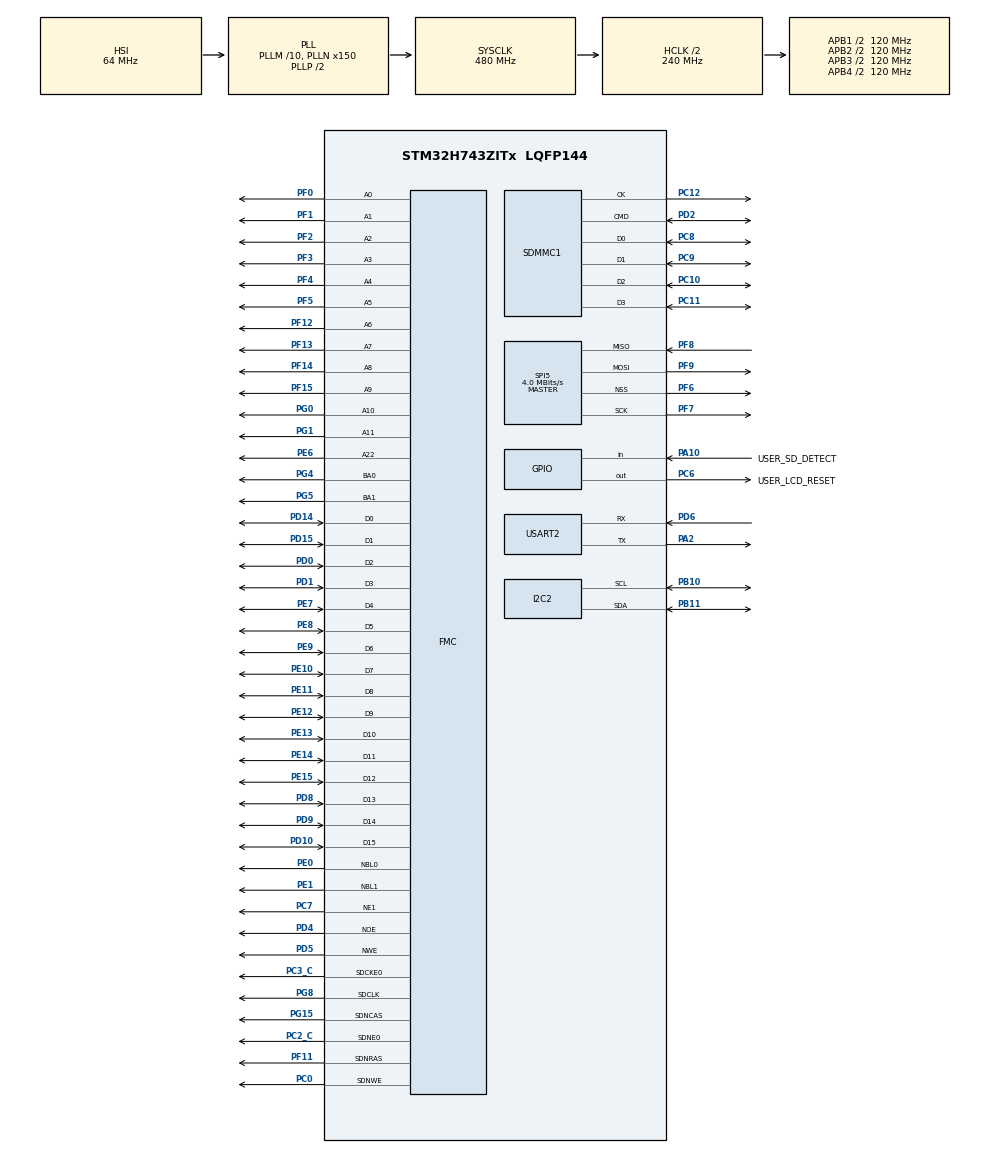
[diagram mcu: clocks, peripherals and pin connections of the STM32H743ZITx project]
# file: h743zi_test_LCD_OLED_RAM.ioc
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CORTEX_M7.AccessPermission-Cortex_Memory_Protection_Unit_Region2_Settings=MPU_REGION_FULL_ACCESS
CORTEX_M7.AccessPermission-Cortex_Memory_Protection_Unit_Region4_Settings=MPU_REGION_FULL_ACCESS
CORTEX_M7.BaseAddress-Cortex_Memory_Protection_Unit_Region2_Settings=0x60000000
CORTEX_M7.BaseAddress-Cortex_Memory_Protection_Unit_Region4_Settings=0xC0000000
CORTEX_M7.CPU_DCache=Enabled
CORTEX_M7.CPU_ICache=Enabled
CORTEX_M7.Enable-Cortex_Memory_Protection_Unit_Region2_Settings=MPU_REGION_ENABLE
CORTEX_M7.Enable-Cortex_Memory_Protection_Unit_Region4_Settings=MPU_REGION_ENABLE
CORTEX_M7.IsBufferable-Cortex_Memory_Protection_Unit_Region2_Settings=MPU_ACCESS_BUFFERABLE
CORTEX_M7.IsCacheable-Cortex_Memory_Protection_Unit_Region4_Settings=MPU_ACCESS_CACHEABLE
CORTEX_M7.IsShareable-Cortex_Memory_Protection_Unit_Region2_Settings=MPU_ACCESS_SHAREABLE
CORTEX_M7.MPU_Control=MPU_PRIVILEGED_DEFAULT
CORTEX_M7.Size-Cortex_Memory_Protection_Unit_Region2_Settings=MPU_REGION_SIZE_64MB
CORTEX_M7.Size-Cortex_Memory_Protection_Unit_Region4_Settings=MPU_REGION_SIZE_256MB
Dma.Request0=USART2_RX
Dma.Request1=SPI5_RX
Dma.Request2=SPI5_TX
Dma.Request3=USART2_TX
Dma.SPI5_RX.1.Direction=DMA_PERIPH_TO_MEMORY
Dma.SPI5_RX.1.EventEnable=DISABLE
Dma.SPI5_RX.1.FIFOMode=DMA_FIFOMODE_DISABLE
Dma.SPI5_RX.1.Instance=DMA1_Stream1
Dma.SPI5_RX.1.MemDataAlignment=DMA_MDATAALIGN_BYTE
Dma.SPI5_RX.1.MemInc=DMA_MINC_ENABLE
Dma.SPI5_RX.1.Mode=DMA_NORMAL
Dma.SPI5_RX.1.PeriphDataAlignment=DMA_PDATAALIGN_BYTE
Dma.SPI5_RX.1.PeriphInc=DMA_PINC_DISABLE
Dma.SPI5_RX.1.Polarity=HAL_DMAMUX_REQ_GEN_RISING
Dma.SPI5_RX.1.Priority=DMA_PRIORITY_LOW
Dma.SPI5_RX.1.RequestNumber=1
Dma.SPI5_RX.1.SignalID=NONE
Dma.SPI5_RX.1.SyncEnable=DISABLE
Dma.SPI5_RX.1.SyncPolarity=HAL_DMAMUX_SYNC_NO_EVENT
Dma.SPI5_RX.1.SyncRequestNumber=1
Dma.SPI5_RX.1.SyncSignalID=NONE
Dma.SPI5_TX.2.Direction=DMA_MEMORY_TO_PERIPH
Dma.SPI5_TX.2.EventEnable=DISABLE
Dma.SPI5_TX.2.FIFOMode=DMA_FIFOMODE_DISABLE
Dma.SPI5_TX.2.Instance=DMA1_Stream2
Dma.SPI5_TX.2.MemDataAlignment=DMA_MDATAALIGN_BYTE
Dma.SPI5_TX.2.MemInc=DMA_MINC_ENABLE
Dma.SPI5_TX.2.Mode=DMA_NORMAL
Dma.SPI5_TX.2.PeriphDataAlignment=DMA_PDATAALIGN_BYTE
Dma.SPI5_TX.2.PeriphInc=DMA_PINC_DISABLE
Dma.SPI5_TX.2.Polarity=HAL_DMAMUX_REQ_GEN_RISING
Dma.SPI5_TX.2.Priority=DMA_PRIORITY_LOW
Dma.SPI5_TX.2.RequestNumber=1
Dma.SPI5_TX.2.SignalID=NONE
Dma.SPI5_TX.2.SyncEnable=DISABLE
Dma.SPI5_TX.2.SyncPolarity=HAL_DMAMUX_SYNC_NO_EVENT
Dma.SPI5_TX.2.SyncRequestNumber=1
Dma.SPI5_TX.2.SyncSignalID=NONE
Dma.USART2_RX.0.Direction=DMA_PERIPH_TO_MEMORY
Dma.USART2_RX.0.EventEnable=DISABLE
Dma.USART2_RX.0.FIFOMode=DMA_FIFOMODE_DISABLE
Dma.USART2_RX.0.Instance=DMA1_Stream0
Dma.USART2_RX.0.MemDataAlignment=DMA_MDATAALIGN_BYTE
Dma.USART2_RX.0.MemInc=DMA_MINC_ENABLE
Dma.USART2_RX.0.Mode=DMA_CIRCULAR
Dma.USART2_RX.0.PeriphDataAlignment=DMA_PDATAALIGN_BYTE
Dma.USART2_RX.0.PeriphInc=DMA_PINC_DISABLE
Dma.USART2_RX.0.Polarity=HAL_DMAMUX_REQ_GEN_RISING
Dma.USART2_RX.0.Priority=DMA_PRIORITY_LOW
Dma.USART2_RX.0.RequestNumber=1
Dma.USART2_RX.0.SignalID=NONE
Dma.USART2_RX.0.SyncEnable=DISABLE
Dma.USART2_RX.0.SyncPolarity=HAL_DMAMUX_SYNC_NO_EVENT
Dma.USART2_RX.0.SyncRequestNumber=1
Dma.USART2_RX.0.SyncSignalID=NONE
Dma.USART2_TX.3.Direction=DMA_MEMORY_TO_PERIPH
Dma.USART2_TX.3.EventEnable=DISABLE
Dma.USART2_TX.3.FIFOMode=DMA_FIFOMODE_DISABLE
Dma.USART2_TX.3.Instance=DMA1_Stream3
Dma.USART2_TX.3.MemDataAlignment=DMA_MDATAALIGN_BYTE
Dma.USART2_TX.3.MemInc=DMA_MINC_ENABLE
Dma.USART2_TX.3.Mode=DMA_NORMAL
Dma.USART2_TX.3.PeriphDataAlignment=DMA_PDATAALIGN_BYTE
Dma.USART2_TX.3.PeriphInc=DMA_PINC_DISABLE
Dma.USART2_TX.3.Polarity=HAL_DMAMUX_REQ_GEN_RISING
Dma.USART2_TX.3.Priority=DMA_PRIORITY_LOW
Dma.USART2_TX.3.RequestNumber=1
Dma.USART2_TX.3.SignalID=NONE
Dma.USART2_TX.3.SyncEnable=DISABLE
Dma.USART2_TX.3.SyncPolarity=HAL_DMAMUX_SYNC_NO_EVENT
Dma.USART2_TX.3.SyncRequestNumber=1
Dma.USART2_TX.3.SyncSignalID=NONE
FMC.AddressSetupTime1=1
FMC.BusTurnAroundDuration1=1
FMC.CASLatency1=FMC_SDRAM_CAS_LATENCY_2
FMC.DataSetupTime1=1
FMC.LoadToActiveDelay1=6
FMC.RCDDelay1=6
FMC.RPDelay1=6
FMC.RPDelay2=6
FMC.ReadBurst1=FMC_SDRAM_RBURST_ENABLE
FMC.ReadBurst2=FMC_SDRAM_RBURST_ENABLE
FMC.SDClockPeriod1=FMC_SDRAM_CLOCK_PERIOD_2
FMC.SDClockPeriod2=FMC_SDRAM_CLOCK_PERIOD_2
FMC.SelfRefreshTime1=11
FMC.WriteRecoveryTime1=6
I2C2.Timing=0x307075B1
Mcu.Family=STM32H7
Mcu.Name=STM32H743ZITx
Mcu.Package=LQFP144
NVIC.DMA1_Stream0_IRQn=true\:0\:0\:false\:false\:true\:false\:true\:true
NVIC.DMA1_Stream1_IRQn=true\:0\:0\:false\:false\:true\:false\:true\:true
NVIC.DMA1_Stream2_IRQn=true\:0\:0\:false\:false\:true\:false\:true\:true
NVIC.DMA1_Stream3_IRQn=true\:0\:0\:false\:false\:true\:false\:true\:true
NVIC.PriorityGroup=NVIC_PRIORITYGROUP_4
NVIC.SDMMC1_IRQn=true\:0\:0\:false\:false\:true\:true\:true\:true
NVIC.SPI5_IRQn=true\:0\:0\:false\:false\:true\:false\:true\:true
NVIC.USART2_IRQn=true\:0\:0\:false\:false\:true\:true\:true\:true
PA10.GPIO_Label=USER_SD_DETECT
PA10.GPIO_PuPd=GPIO_PULLUP
PA10.Signal=GPIO_Input
PA13\ (JTMS/SWDIO).Mode=Serial_Wire
PA13\ (JTMS/SWDIO).Signal=DEBUG_JTMS-SWDIO
PA14\ (JTCK/SWCLK).Mode=Serial_Wire
PA14\ (JTCK/SWCLK).Signal=DEBUG_JTCK-SWCLK
PA2.Mode=Asynchronous
PA2.Signal=USART2_TX
PB10.Mode=I2C
PB10.Signal=I2C2_SCL
PB11.Mode=I2C
PB11.Signal=I2C2_SDA
PC0.Signal=FMC_SDNWE
PC10.Mode=SD_4_bits_Wide_bus
PC10.Signal=SDMMC1_D2
PC11.Mode=SD_4_bits_Wide_bus
PC11.Signal=SDMMC1_D3
PC12.Mode=SD_4_bits_Wide_bus
PC12.Signal=SDMMC1_CK
PC2_C.Mode=SdramChipSelect1_1
PC2_C.Signal=FMC_SDNE0
PC3_C.Mode=SdramChipSelect1_1
PC3_C.Signal=FMC_SDCKE0
PC6.GPIO_Label=USER_LCD_RESET
PC6.PinState=GPIO_PIN_SET
PC6.Signal=GPIO_Output
PC7.Mode=NorPsramChipSelect1_1
PC7.Signal=FMC_NE1
PC8.Mode=SD_4_bits_Wide_bus
PC8.Signal=SDMMC1_D0
PC9.Mode=SD_4_bits_Wide_bus
PC9.Signal=SDMMC1_D1
PD0.Signal=FMC_D2_DA2
PD1.Signal=FMC_D3_DA3
PD10.Signal=FMC_D15_DA15
PD14.Signal=FMC_D0_DA0
PD15.Signal=FMC_D1_DA1
PD2.Mode=SD_4_bits_Wide_bus
PD2.Signal=SDMMC1_CMD
PD4.Signal=FMC_NOE
PD5.Signal=FMC_NWE
PD6.Mode=Asynchronous
PD6.Signal=USART2_RX
PD8.Signal=FMC_D13_DA13
PD9.Signal=FMC_D14_DA14
PE0.Signal=FMC_NBL0
PE1.Signal=FMC_NBL1
PE10.Signal=FMC_D7_DA7
PE11.Signal=FMC_D8_DA8
PE12.Signal=FMC_D9_DA9
PE13.Signal=FMC_D10_DA10
PE14.Signal=FMC_D11_DA11
PE15.Signal=FMC_D12_DA12
PE6.Signal=FMC_A22
PE7.Signal=FMC_D4_DA4
PE8.Signal=FMC_D5_DA5
PE9.Signal=FMC_D6_DA6
PF0.Signal=FMC_A0
PF1.Signal=FMC_A1
PF11.Signal=FMC_SDNRAS
PF12.Signal=FMC_A6
PF13.Signal=FMC_A7
PF14.Signal=FMC_A8
PF15.Signal=FMC_A9
PF2.Signal=FMC_A2
PF3.Signal=FMC_A3
PF4.Signal=FMC_A4
PF5.Signal=FMC_A5
PF6.Mode=NSS_Signal_Hard_Output
PF6.Signal=SPI5_NSS
PF7.Mode=Full_Duplex_Master
PF7.Signal=SPI5_SCK
PF8.Mode=Full_Duplex_Master
PF8.Signal=SPI5_MISO
PF9.Mode=Full_Duplex_Master
PF9.Signal=SPI5_MOSI
PG0.Signal=FMC_A10
PG1.Signal=FMC_A11
PG15.Signal=FMC_SDNCAS
PG4.Signal=FMC_A14_BA0
PG5.Signal=FMC_A15_BA1
PG8.Signal=FMC_SDCLK
ProjectManager.HeapSize=0x200
ProjectManager.StackSize=0x400
ProjectManager.TargetToolchain=STM32CubeIDE
RCC.ADCFreq_Value=192000000
RCC.APB1Freq_Value=120000000
RCC.APB2Freq_Value=120000000
RCC.APB3Freq_Value=120000000
RCC.APB4Freq_Value=120000000
RCC.CortexFreq_Value=480000000
RCC.D1PPRE=RCC_APB3_DIV2
RCC.D2PPRE1=RCC_APB1_DIV2
RCC.D2PPRE2=RCC_APB2_DIV2
RCC.D3PPRE=RCC_APB4_DIV2
RCC.DIVM1=10
RCC.DIVM2=16
RCC.DIVN1=150
RCC.DIVN2=96
RCC.DIVN3=96
RCC.DIVQ1=60
RCC.DIVR1=20
RCC.FMCCLockSelection=RCC_FMCCLKSOURCE_PLL
RCC.HCLKFreq_Value=240000000
RCC.HPRE=RCC_HCLK_DIV2
RCC.HSE_VALUE=24000000
RCC.ProductRev=revV
RCC.SYSCLKFreq_VALUE=480000000
RCC.SYSCLKSource=RCC_SYSCLKSOURCE_PLLCLK
RCC.Spi45ClockSelection=RCC_SPI45CLKSOURCE_HSI
RCC.USBFreq_Value=16000000
SDMMC1.ClockDiv=2
SH.FMC_A0.0=FMC_A0,12b-sda1
SH.FMC_A1.0=FMC_A1,12b-sda1
SH.FMC_A10.0=FMC_A10,12b-sda1
SH.FMC_A11.0=FMC_A11,12b-sda1
SH.FMC_A14_BA0.0=FMC_BA0,FourSdramBanks1
SH.FMC_A15_BA1.0=FMC_BA1,FourSdramBanks1
SH.FMC_A2.0=FMC_A2,12b-sda1
SH.FMC_A22.0=FMC_A22,A22_1
SH.FMC_A3.0=FMC_A3,12b-sda1
SH.FMC_A4.0=FMC_A4,12b-sda1
SH.FMC_A5.0=FMC_A5,12b-sda1
SH.FMC_A6.0=FMC_A6,12b-sda1
SH.FMC_A7.0=FMC_A7,12b-sda1
SH.FMC_A8.0=FMC_A8,12b-sda1
SH.FMC_A9.0=FMC_A9,12b-sda1
SH.FMC_D0_DA0.0=FMC_D0,16b-d1
SH.FMC_D0_DA0.1=FMC_D0,sd-16b-d1
SH.FMC_D10_DA10.0=FMC_D10,16b-d1
SH.FMC_D10_DA10.1=FMC_D10,sd-16b-d1
SH.FMC_D11_DA11.0=FMC_D11,16b-d1
SH.FMC_D11_DA11.1=FMC_D11,sd-16b-d1
SH.FMC_D12_DA12.0=FMC_D12,16b-d1
SH.FMC_D12_DA12.1=FMC_D12,sd-16b-d1
SH.FMC_D13_DA13.0=FMC_D13,16b-d1
SH.FMC_D13_DA13.1=FMC_D13,sd-16b-d1
SH.FMC_D14_DA14.0=FMC_D14,16b-d1
SH.FMC_D14_DA14.1=FMC_D14,sd-16b-d1
SH.FMC_D15_DA15.0=FMC_D15,16b-d1
SH.FMC_D15_DA15.1=FMC_D15,sd-16b-d1
SH.FMC_D1_DA1.0=FMC_D1,16b-d1
SH.FMC_D1_DA1.1=FMC_D1,sd-16b-d1
SH.FMC_D2_DA2.0=FMC_D2,16b-d1
SH.FMC_D2_DA2.1=FMC_D2,sd-16b-d1
SH.FMC_D3_DA3.0=FMC_D3,16b-d1
SH.FMC_D3_DA3.1=FMC_D3,sd-16b-d1
SH.FMC_D4_DA4.0=FMC_D4,16b-d1
SH.FMC_D4_DA4.1=FMC_D4,sd-16b-d1
SH.FMC_D5_DA5.0=FMC_D5,16b-d1
SH.FMC_D5_DA5.1=FMC_D5,sd-16b-d1
SH.FMC_D6_DA6.0=FMC_D6,16b-d1
SH.FMC_D6_DA6.1=FMC_D6,sd-16b-d1
SH.FMC_D7_DA7.0=FMC_D7,16b-d1
SH.FMC_D7_DA7.1=FMC_D7,sd-16b-d1
SH.FMC_D8_DA8.0=FMC_D8,16b-d1
SH.FMC_D8_DA8.1=FMC_D8,sd-16b-d1
SH.FMC_D9_DA9.0=FMC_D9,16b-d1
SH.FMC_D9_DA9.1=FMC_D9,sd-16b-d1
SH.FMC_NBL0.0=FMC_NBL0,Sd2ByteEnable1
SH.FMC_NBL1.0=FMC_NBL1,Sd2ByteEnable1
SH.FMC_NOE.0=FMC_NOE,Lcd1
SH.FMC_NWE.0=FMC_NWE,Lcd1
SH.FMC_SDCLK.0=FMC_SDCLK,12b-sda1
SH.FMC_SDNCAS.0=FMC_SDNCAS,12b-sda1
SH.FMC_SDNRAS.0=FMC_SDNRAS,12b-sda1
SH.FMC_SDNWE.0=FMC_SDNWE,12b-sda1
SPI5.BaudRatePrescaler=SPI_BAUDRATEPRESCALER_16
SPI5.CalculateBaudRate=4.0 MBits/s
SPI5.Direction=SPI_DIRECTION_2LINES
SPI5.Mode=SPI_MODE_MASTER
SPI5.VirtualNSS=VM_NSSHARD
SPI5.VirtualType=VM_MASTER
USART2.VirtualMode-Asynchronous=VM_ASYNC
board=custom

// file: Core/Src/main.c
/* USER CODE BEGIN Header */
/**
  ******************************************************************************
  * @file           : main.c
  * @brief          : Main program body
  ******************************************************************************
  * @attention
  *
  * Copyright (c) 2023 STMicroelectronics.
  * All rights reserved.
  *
  * This software is licensed under terms that can be found in the LICENSE file
  * in the root directory of this software component.
  * If no LICENSE file comes with this software, it is provided AS-IS.
  *
  ******************************************************************************
  */
/* USER CODE END Header */
#include "main.h"
#include "dma.h"
#include "i2c.h"
#include "sdmmc.h"
#include "spi.h"
#include "usart.h"
#include "gpio.h"
#include "fmc.h"

/* USER CODE BEGIN Includes */
#include "../../Drivers/W9812G6JH/w9812g6jh.h"
#include "../../Drivers/ssd1305_i2c/ssd1305_i2c.h"
#include "../../Drivers/ili9341/ili9341.h"

/* USER CODE END Includes */

/* USER CODE BEGIN PV */
char test_txt[] = "soldering issues :(";
/* USER CODE END PV */

void SystemClock_Config(void);
static void MPU_Config(void);
/* USER CODE BEGIN PFP */
#define min(a,b) (((a)<(b))?(a):(b))
#define SHOW_LCDINFO_DELAY 2000
void demoLCD(int i);
unsigned long testFillScreen();
unsigned long testText();
unsigned long testLines(uint16_t color);
unsigned long testFastLines(uint16_t color1, uint16_t color2);
unsigned long testRects(uint16_t color);
unsigned long testFilledRects(uint16_t color1, uint16_t color2);
unsigned long testFilledCircles(uint8_t radius, uint16_t color);
unsigned long testCircles(uint8_t radius, uint16_t color);
unsigned long testTriangles();
unsigned long testFilledTriangles();
unsigned long testRoundRects();
unsigned long testFilledRoundRects();
/* USER CODE END PFP */

int main(void)
{

  /* MPU Configuration--------------------------------------------------------*/
  MPU_Config();
/* Enable the CPU Cache */

  /* Enable I-Cache---------------------------------------------------------*/
  SCB_EnableICache();

  /* Enable D-Cache---------------------------------------------------------*/
  SCB_EnableDCache();

  /* MCU Configuration--------------------------------------------------------*/

  /* Reset of all peripherals, Initializes the Flash interface and the Systick. */
  HAL_Init();

  /* Configure the system clock */
  SystemClock_Config();

  /* Initialize all configured peripherals */
  MX_GPIO_Init();
  MX_DMA_Init();
  MX_FMC_Init();
  MX_SDMMC1_SD_Init();
  MX_SPI5_Init();
  MX_I2C2_Init();
  MX_USART2_UART_Init();
  /* USER CODE BEGIN 2 */

  W9812G6JH_Init(&hsdram1);
  HAL_Delay(1);
  uint32_t b = 0xFFBFAFFF;
  _RAM_WRITE32(b, 0 );
  uint32_t a = _RAM_READ32(0);

 // ssd1305_Init();
  lcdBacklightOn();
  lcdInit();
  lcdFillRGB(COLOR_WHITE);
  lcdFillRGB(COLOR_BLUE);
  lcdTest();
  lcdSetCursor(50,100);
  lcdSetTextFont(&Font12);
  lcdPrintf(test_txt);

//
//	CodecPowerUp(CODEC_ADDRESS_1);
//	SetHPGain(-8, CODEC_ADDRESS_1);
//
//	CodecPowerUp(CODEC_ADDRESS_0);
//	SetHPGain(-8, CODEC_ADDRESS_0);
//
//	saiAdapter_Init(&sai2adapter, HW_SAI2);
//	saiAdapter_Init(&sai1adapter, HW_SAI1);

	//audioSystem.includeModules();
	//guiAdapter_Init(&guiadapter);

int i = 0;
  /* USER CODE END 2 */

  /* Infinite loop */
  /* USER CODE BEGIN WHILE */
  while (1)
  {
	  //demoLCD(i);
	  //	  i++;
    /* USER CODE END WHILE */

  }
}

void SystemClock_Config(void)
{
  RCC_OscInitTypeDef RCC_OscInitStruct = {0};
  RCC_ClkInitTypeDef RCC_ClkInitStruct = {0};

  /** Supply configuration update enable
  */
  HAL_PWREx_ConfigSupply(PWR_LDO_SUPPLY);

  /** Configure the main internal regulator output voltage
  */
  __HAL_PWR_VOLTAGESCALING_CONFIG(PWR_REGULATOR_VOLTAGE_SCALE1);

  while(!__HAL_PWR_GET_FLAG(PWR_FLAG_VOSRDY)) {}

  __HAL_RCC_SYSCFG_CLK_ENABLE();
  __HAL_PWR_VOLTAGESCALING_CONFIG(PWR_REGULATOR_VOLTAGE_SCALE0);

  while(!__HAL_PWR_GET_FLAG(PWR_FLAG_VOSRDY)) {}

  /** Initializes the RCC Oscillators according to the specified parameters
  * in the RCC_OscInitTypeDef structure.
  */
  RCC_OscInitStruct.OscillatorType = RCC_OSCILLATORTYPE_HSI;
  RCC_OscInitStruct.HSIState = RCC_HSI_DIV1;
  RCC_OscInitStruct.HSICalibrationValue = RCC_HSICALIBRATION_DEFAULT;
  RCC_OscInitStruct.PLL.PLLState = RCC_PLL_ON;
  RCC_OscInitStruct.PLL.PLLSource = RCC_PLLSOURCE_HSI;
  RCC_OscInitStruct.PLL.PLLM = 10;
  RCC_OscInitStruct.PLL.PLLN = 150;
  RCC_OscInitStruct.PLL.PLLP = 2;
  RCC_OscInitStruct.PLL.PLLQ = 60;
  RCC_OscInitStruct.PLL.PLLR = 20;
  RCC_OscInitStruct.PLL.PLLRGE = RCC_PLL1VCIRANGE_2;
  RCC_OscInitStruct.PLL.PLLVCOSEL = RCC_PLL1VCOWIDE;
  RCC_OscInitStruct.PLL.PLLFRACN = 0;
  if (HAL_RCC_OscConfig(&RCC_OscInitStruct) != HAL_OK)
  {
    Error_Handler();
  }

  /** Initializes the CPU, AHB and APB buses clocks
  */
  RCC_ClkInitStruct.ClockType = RCC_CLOCKTYPE_HCLK|RCC_CLOCKTYPE_SYSCLK
                              |RCC_CLOCKTYPE_PCLK1|RCC_CLOCKTYPE_PCLK2
                              |RCC_CLOCKTYPE_D3PCLK1|RCC_CLOCKTYPE_D1PCLK1;
  RCC_ClkInitStruct.SYSCLKSource = RCC_SYSCLKSOURCE_PLLCLK;
  RCC_ClkInitStruct.SYSCLKDivider = RCC_SYSCLK_DIV1;
  RCC_ClkInitStruct.AHBCLKDivider = RCC_HCLK_DIV2;
  RCC_ClkInitStruct.APB3CLKDivider = RCC_APB3_DIV2;
  RCC_ClkInitStruct.APB1CLKDivider = RCC_APB1_DIV2;
  RCC_ClkInitStruct.APB2CLKDivider = RCC_APB2_DIV2;
  RCC_ClkInitStruct.APB4CLKDivider = RCC_APB4_DIV2;

  if (HAL_RCC_ClockConfig(&RCC_ClkInitStruct, FLASH_LATENCY_4) != HAL_OK)
  {
    Error_Handler();
  }
}

/* USER CODE BEGIN 4 */
void demoLCD(int i)
{
	lcdSetOrientation(i % 4);

	uint32_t t = testFillScreen();
	lcdSetTextFont(&Font16);
	lcdSetCursor(0, lcdGetHeight() - lcdGetTextFont()->Height - 1);
	lcdSetTextColor(COLOR_WHITE, COLOR_BLACK);
	lcdPrintf("Time: %4lu ms", t);
	HAL_Delay(SHOW_LCDINFO_DELAY);

	t = HAL_GetTick();
	lcdTest();
	lcdSetTextFont(&Font16);
	lcdSetCursor(0, lcdGetHeight() - lcdGetTextFont()->Height - 1);
	lcdSetTextColor(COLOR_WHITE, COLOR_BLACK);
	lcdPrintf("Time: %4lu ms", HAL_GetTick() - t);
	HAL_Delay(SHOW_LCDINFO_DELAY);

	t = testText();
	lcdSetTextFont(&Font16);
	lcdSetCursor(0, lcdGetHeight() - lcdGetTextFont()->Height - 1);
	lcdSetTextColor(COLOR_WHITE, COLOR_BLACK);
	lcdPrintf("Time: %4lu ms", t);
	HAL_Delay(SHOW_LCDINFO_DELAY);

	lcdSetTextFont(&Font16);
	lcdSetCursor(0, lcdGetHeight() - lcdGetTextFont()->Height - 1);
	lcdSetTextColor(COLOR_WHITE, COLOR_BLACK);
	lcdPrintf("Time: %4lu ms", testLines(COLOR_CYAN));
	HAL_Delay(SHOW_LCDINFO_DELAY);

	lcdSetTextFont(&Font16);
	lcdSetCursor(0, lcdGetHeight() - lcdGetTextFont()->Height - 1);
	lcdSetTextColor(COLOR_WHITE, COLOR_BLACK);
	lcdPrintf("Time: %4lu ms", testFastLines(COLOR_RED, COLOR_BLUE));
	HAL_Delay(SHOW_LCDINFO_DELAY);

	lcdSetTextFont(&Font16);
	lcdSetCursor(0, lcdGetHeight() - lcdGetTextFont()->Height - 1);
	lcdSetTextColor(COLOR_WHITE, COLOR_BLACK);
	lcdPrintf("Time: %4lu ms", testRects(COLOR_GREEN));
	HAL_Delay(SHOW_LCDINFO_DELAY);

	lcdSetTextFont(&Font16);
	lcdSetCursor(0, lcdGetHeight() - lcdGetTextFont()->Height - 1);
	lcdSetTextColor(COLOR_WHITE, COLOR_BLACK);
	lcdPrintf("Time: %4lu ms", testFilledRects(COLOR_YELLOW, COLOR_MAGENTA));
	HAL_Delay(SHOW_LCDINFO_DELAY);

	lcdSetTextFont(&Font16);
	lcdSetCursor(0, lcdGetHeight() - lcdGetTextFont()->Height - 1);
	lcdSetTextColor(COLOR_WHITE, COLOR_BLACK);
	lcdPrintf("Time: %4lu ms", testFilledCircles(10, COLOR_MAGENTA));
	HAL_Delay(SHOW_LCDINFO_DELAY);

	lcdSetTextFont(&Font16);
	lcdSetCursor(0, lcdGetHeight() - lcdGetTextFont()->Height - 1);
	lcdSetTextColor(COLOR_WHITE, COLOR_BLACK);
	lcdPrintf("Time: %4lu ms", testCircles(10, COLOR_WHITE));
	HAL_Delay(SHOW_LCDINFO_DELAY);

	lcdSetTextFont(&Font16);
	lcdSetCursor(0, lcdGetHeight() - lcdGetTextFont()->Height - 1);
	lcdSetTextColor(COLOR_WHITE, COLOR_BLACK);
	lcdPrintf("Time: %4lu ms", testTriangles());
	HAL_Delay(SHOW_LCDINFO_DELAY);

	lcdSetTextFont(&Font16);
	lcdSetCursor(0, lcdGetHeight() - lcdGetTextFont()->Height - 1);
	lcdSetTextColor(COLOR_WHITE, COLOR_BLACK);
	lcdPrintf("Time: %4lu ms", testFilledTriangles());
	HAL_Delay(SHOW_LCDINFO_DELAY);

	lcdSetTextFont(&Font16);
	lcdSetCursor(0, lcdGetHeight() - lcdGetTextFont()->Height - 1);
	lcdSetTextColor(COLOR_WHITE, COLOR_BLACK);
	lcdPrintf("Time: %4lu ms", testRoundRects());
	HAL_Delay(SHOW_LCDINFO_DELAY);

	lcdSetTextFont(&Font16);
	lcdSetCursor(0, lcdGetHeight() - lcdGetTextFont()->Height - 1);
	lcdSetTextColor(COLOR_WHITE, COLOR_BLACK);
	lcdPrintf("Time: %4lu ms", testFilledRoundRects());
	HAL_Delay(SHOW_LCDINFO_DELAY);

//	lcdSetTextFont(&Font16);
//	lcdSetCursor(0, lcdGetHeight() - lcdGetTextFont()->Height - 1);
//	lcdSetTextColor(COLOR_WHITE, COLOR_BLACK);
//	lcdPrintf("Time: %4lu ms", testDrawImage());
//	HAL_Delay(SHOW_LCDINFO_DELAY);
}

unsigned long testFillScreen()
{
	unsigned long start = HAL_GetTick(), t = 0;
	lcdFillRGB(COLOR_BLACK);
	t += HAL_GetTick() - start;
	lcdSetCursor(0, 0);
	lcdSetTextFont(&Font24);
	lcdSetTextColor(COLOR_WHITE, COLOR_BLACK);
	lcdPrintf("BLACK");
	HAL_Delay(1000);
	start = HAL_GetTick();
	lcdFillRGB(COLOR_RED);
	t += HAL_GetTick() - start;
	lcdSetCursor(0, 0);
	lcdSetTextFont(&Font24);
	lcdSetTextColor(COLOR_WHITE, COLOR_BLACK);
	lcdPrintf("RED");
	HAL_Delay(1000);
	start = HAL_GetTick();
	lcdFillRGB(COLOR_GREEN);
	t += HAL_GetTick() - start;
	lcdSetCursor(0, 0);
	lcdSetTextFont(&Font24);
	lcdSetTextColor(COLOR_WHITE, COLOR_BLACK);
	lcdPrintf("GREEN");
	HAL_Delay(1000);
	start = HAL_GetTick();
	lcdFillRGB(COLOR_BLUE);
	t += HAL_GetTick() - start;
	lcdSetCursor(0, 0);
	lcdSetTextFont(&Font24);
	lcdSetTextColor(COLOR_WHITE, COLOR_BLACK);
	lcdPrintf("BLUE");
	HAL_Delay(1000);
	start = HAL_GetTick();
	lcdFillRGB(COLOR_BLACK);
	return t += HAL_GetTick() - start;
}

unsigned long testText()
{
	lcdFillRGB(COLOR_BLACK);
	unsigned long start = HAL_GetTick();
	lcdSetCursor(0, 0);
	lcdSetTextColor(COLOR_WHITE, COLOR_BLACK);
	lcdSetTextFont(&Font8);
	lcdPrintf("Hello World!\r\n");
	lcdSetTextColor(COLOR_YELLOW, COLOR_BLACK);
	lcdSetTextFont(&Font12);
	lcdPrintf("%i\r\n", 1234567890);
	lcdSetTextColor(COLOR_RED, COLOR_BLACK);
	lcdSetTextFont(&Font16);
	lcdPrintf("%#X\r\n", 0xDEADBEEF);
	lcdPrintf("\r\n");
	lcdSetTextColor(COLOR_GREEN, COLOR_BLACK);
	lcdSetTextFont(&Font20);
	lcdPrintf("Groop\r\n");
	lcdSetTextFont(&Font12);
	lcdPrintf("I implore thee,\r\n");
	lcdSetTextFont(&Font12);
	lcdPrintf("my foonting turlingdromes.\r\n");
	lcdPrintf("And hooptiously drangle me\r\n");
	lcdPrintf("with crinkly bindlewurdles,\r\n");
	lcdPrintf("Or I will rend thee\r\n");
	lcdPrintf("in the gobberwarts\r\n");
	lcdPrintf("with my blurglecruncheon,\r\n");
	lcdPrintf("see if I don't!\r\n");
	return HAL_GetTick() - start;
}

unsigned long testLines(uint16_t color)
{
  unsigned long start, t;
  int           x1, y1, x2, y2,
                w = lcdGetWidth(),
                h = lcdGetHeight();

  lcdFillRGB(COLOR_BLACK);

  x1 = y1 = 0;
  y2    = h - 1;
  start = HAL_GetTick();
  for(x2 = 0; x2 < w; x2 += 6) lcdDrawLine(x1, y1, x2, y2, color);
  x2 = w - 1;
  for(y2 = 0; y2 < h; y2 += 6) lcdDrawLine(x1, y1, x2, y2, color);
  t = HAL_GetTick() - start; // fillScreen doesn't count against timing

  HAL_Delay(1000);
  lcdFillRGB(COLOR_BLACK);

  x1 = w - 1;
  y1 = 0;
  y2 = h - 1;

  start = HAL_GetTick();

  for(x2 = 0; x2 < w; x2 += 6) lcdDrawLine(x1, y1, x2, y2, color);
  x2 = 0;
  for(y2 = 0; y2 < h; y2 += 6) lcdDrawLine(x1, y1, x2, y2, color);
  t += HAL_GetTick() - start;

  HAL_Delay(1000);
  lcdFillRGB(COLOR_BLACK);

  x1 = 0;
  y1 = h - 1;
  y2 = 0;
  start = HAL_GetTick();

  for(x2 = 0; x2 < w; x2 += 6) lcdDrawLine(x1, y1, x2, y2, color);
  x2 = w - 1;
  for(y2 = 0; y2 < h; y2 += 6) lcdDrawLine(x1, y1, x2, y2, color);
  t += HAL_GetTick() - start;

  HAL_Delay(1000);
  lcdFillRGB(COLOR_BLACK);

  x1 = w - 1;
  y1 = h - 1;
  y2 = 0;

  start = HAL_GetTick();

  for(x2 = 0; x2 < w; x2 += 6) lcdDrawLine(x1, y1, x2, y2, color);
  x2 = 0;
  for(y2 = 0; y2 < h; y2 += 6) lcdDrawLine(x1, y1, x2, y2, color);

  return t += HAL_GetTick() - start;
}

unsigned long testFastLines(uint16_t color1, uint16_t color2)
{
  unsigned long start;
  int x, y, w = lcdGetWidth(), h = lcdGetHeight();

  lcdFillRGB(COLOR_BLACK);
  start = HAL_GetTick();
  for(y = 0; y < h; y += 5) lcdDrawHLine(0, w, y, color1);
  for(x = 0; x < w; x += 5) lcdDrawVLine(x, 0, h, color2);

  return HAL_GetTick() - start;
}

unsigned long testRects(uint16_t color)
{
  unsigned long start;
  int n, i, i2,
      cx = lcdGetWidth()  / 2,
      cy = lcdGetHeight() / 2;

  lcdFillRGB(COLOR_BLACK);
  n = min(lcdGetWidth(), lcdGetHeight());
  start = HAL_GetTick();
  for(i = 2; i < n; i += 6)
  {
    i2 = i / 2;
    lcdDrawRect(cx - i2, cy - i2, i, i, color);
  }

  return HAL_GetTick() - start;
}

unsigned long testFilledRects(uint16_t color1, uint16_t color2)
{
  unsigned long start, t = 0;
  int n, i, i2,
      cx = lcdGetWidth() / 2 - 1,
      cy = lcdGetHeight() / 2 - 1;

  lcdFillRGB(COLOR_BLACK);
  n = min(lcdGetWidth(), lcdGetHeight());

  for(i = n; i > 0; i -= 6)
  {
    i2 = i / 2;
    start = HAL_GetTick();
    lcdFillRect(cx-i2, cy-i2, i, i, color1);
    t    += HAL_GetTick() - start;
    // Outlines are not included in timing results
    lcdDrawRect(cx-i2, cy-i2, i, i, color1);
  }

  return t;
}

unsigned long testFilledCircles(uint8_t radius, uint16_t color)
{
  unsigned long start;
  int x, y, w = lcdGetWidth(), h = lcdGetHeight(), r2 = radius * 2;

  lcdFillRGB(COLOR_BLACK);
  start = HAL_GetTick();
  for(x = radius; x < w; x += r2)
  {
    for(y = radius; y < h; y += r2)
    {
      lcdFillCircle(x, y, radius, color);
    }
  }

  return HAL_GetTick() - start;
}

unsigned long testCircles(uint8_t radius, uint16_t color)
{
  unsigned long start;
  int x, y, r2 = radius * 2,
      w = lcdGetWidth()  + radius,
      h = lcdGetHeight() + radius;

  // Screen is not cleared for this one -- this is
  // intentional and does not affect the reported time.
  start = HAL_GetTick();
  for(x = 0; x < w; x += r2)
  {
    for(y = 0; y < h; y += r2)
    {
      lcdDrawCircle(x, y, radius, color);
    }
  }

  return HAL_GetTick() - start;
}

unsigned long testTriangles()
{
  unsigned long start;
  int n, i, cx = lcdGetWidth() / 2 - 1,
            cy = lcdGetHeight() / 2 - 1;

  lcdFillRGB(COLOR_BLACK);
  n = min(cx, cy);
  start = HAL_GetTick();
  for(i = 0; i < n; i += 5)
  {
    lcdDrawTriangle(
      cx    , cy - i, // peak
      cx - i, cy + i, // bottom left
      cx + i, cy + i, // bottom right
      lcdColor565(i, i, i));
  }

  return HAL_GetTick() - start;
}

unsigned long testFilledTriangles()
{
  unsigned long start, t = 0;
  int i, cx = lcdGetWidth() / 2 - 1,
         cy = lcdGetHeight() / 2 - 1;

  lcdFillRGB(COLOR_BLACK);
  for(i = min(cx, cy); i > 10; i -= 5)
  {
    start = HAL_GetTick();
    lcdFillTriangle(cx, cy - i, cx - i, cy + i, cx + i, cy + i, lcdColor565(0, i*10, i*10));
    t += HAL_GetTick() - start;
    lcdFillTriangle(cx, cy - i, cx - i, cy + i, cx + i, cy + i, lcdColor565(i*10, i*10, 0));
  }

  return t;
}

unsigned long testRoundRects()
{
  unsigned long start;
  int w, i, i2,
      cx = lcdGetWidth() / 2 - 1,
      cy = lcdGetHeight() / 2 - 1;

  lcdFillRGB(COLOR_BLACK);
  w = lcdGetWidth(), lcdGetHeight();
  start = HAL_GetTick();
  for(i = 0; i < w; i += 6)
  {
    i2 = i / 2;
    lcdDrawRoundRect(cx-i2, cy-i2, i, i, i/8, lcdColor565(i, 0, 0));
  }

  return HAL_GetTick() - start;
}

unsigned long testFilledRoundRects()
{
  unsigned long start;
  int i, i2,
      cx = lcdGetWidth()  / 2 - 1,
      cy = lcdGetHeight() / 2 - 1;

  lcdFillRGB(COLOR_BLACK);
  start = HAL_GetTick();
  for(i = min(lcdGetWidth(), lcdGetHeight()); i > 20; i -=6 )
  {
    i2 = i / 2;
    lcdFillRoundRect(cx - i2, cy - i2, i, i, i / 8, lcdColor565(0, i, 0));
  }

  return HAL_GetTick() - start;
}
/* USER CODE END 4 */

/* MPU Configuration */

void MPU_Config(void)
{
  MPU_Region_InitTypeDef MPU_InitStruct = {0};

  /* Disables the MPU */
  HAL_MPU_Disable();

  /** Initializes and configures the Region and the memory to be protected
  */
  MPU_InitStruct.Enable = MPU_REGION_ENABLE;
  MPU_InitStruct.Number = MPU_REGION_NUMBER2;
  MPU_InitStruct.BaseAddress = 0x60000000;
  MPU_InitStruct.Size = MPU_REGION_SIZE_64MB;
  MPU_InitStruct.SubRegionDisable = 0x0;
  MPU_InitStruct.TypeExtField = MPU_TEX_LEVEL0;
  MPU_InitStruct.AccessPermission = MPU_REGION_FULL_ACCESS;
  MPU_InitStruct.DisableExec = MPU_INSTRUCTION_ACCESS_ENABLE;
  MPU_InitStruct.IsShareable = MPU_ACCESS_SHAREABLE;
  MPU_InitStruct.IsCacheable = MPU_ACCESS_NOT_CACHEABLE;
  MPU_InitStruct.IsBufferable = MPU_ACCESS_BUFFERABLE;

  HAL_MPU_ConfigRegion(&MPU_InitStruct);

  /** Initializes and configures the Region and the memory to be protected
  */
  MPU_InitStruct.Number = MPU_REGION_NUMBER4;
  MPU_InitStruct.BaseAddress = 0xC0000000;
  MPU_InitStruct.Size = MPU_REGION_SIZE_256MB;
  MPU_InitStruct.IsShareable = MPU_ACCESS_NOT_SHAREABLE;
  MPU_InitStruct.IsCacheable = MPU_ACCESS_CACHEABLE;
  MPU_InitStruct.IsBufferable = MPU_ACCESS_NOT_BUFFERABLE;

  HAL_MPU_ConfigRegion(&MPU_InitStruct);
  /* Enables the MPU */
  HAL_MPU_Enable(MPU_PRIVILEGED_DEFAULT);

}

void Error_Handler(void)
{
  __disable_irq();
  while (1)
  {
  }
}
